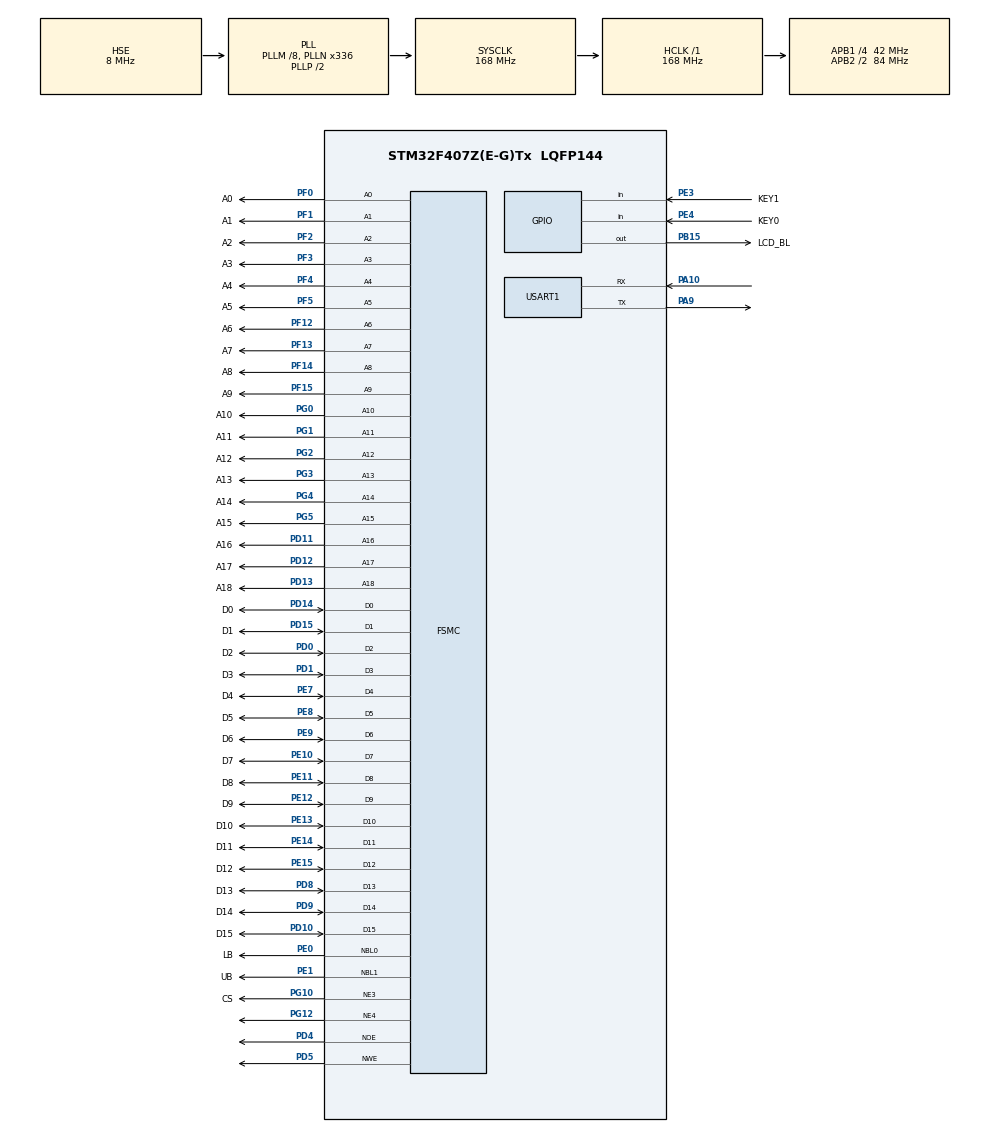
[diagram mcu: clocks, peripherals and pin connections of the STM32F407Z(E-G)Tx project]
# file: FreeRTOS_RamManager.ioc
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FREERTOS.HEAP_NUMBER=5
FREERTOS.Tasks01=startTask,1,128,start_task,Default,NULL,Dynamic,NULL,NULL;task1Task,2,128,task1,Default,NULL,Dynamic,NULL,NULL
FREERTOS.configTOTAL_HEAP_SIZE=40960
FSMC.AddressSetupTime1=2
FSMC.BusTurnAroundDuration1=0
FSMC.DataSetupTime1=8
FSMC.DataSetupTime2=60
FSMC.ExtendedAddressSetupTime2=9
FSMC.ExtendedDataSetupTime2=9
FSMC.ExtendedMode1=FSMC_EXTENDED_MODE_DISABLE
FSMC.ExtendedMode2=FSMC_EXTENDED_MODE_ENABLE
FSMC.WriteOperation1=FSMC_WRITE_OPERATION_ENABLE
Mcu.Family=STM32F4
Mcu.Name=STM32F407Z(E-G)Tx
Mcu.Package=LQFP144
NVIC.PriorityGroup=NVIC_PRIORITYGROUP_4
NVIC.TIM1_UP_TIM10_IRQn=true\:0\:0\:false\:false\:true\:false\:false\:true
NVIC.TimeBase=TIM1_UP_TIM10_IRQn
NVIC.TimeBaseIP=TIM1
PA10.Mode=Asynchronous
PA10.Signal=USART1_RX
PA13.Mode=Serial_Wire
PA13.Signal=SYS_JTMS-SWDIO
PA14.Mode=Serial_Wire
PA14.Signal=SYS_JTCK-SWCLK
PA9.Mode=Asynchronous
PA9.Signal=USART1_TX
PB15.GPIO_Label=LCD_BL
PB15.GPIO_PuPd=GPIO_PULLDOWN
PB15.GPIO_Speed=GPIO_SPEED_FREQ_HIGH
PB15.PinState=GPIO_PIN_SET
PB15.Signal=GPIO_Output
PD0.GPIO_Label=D2
PD0.GPIO_PuPd=GPIO_PULLUP
PD0.Signal=FSMC_D2_DA2
PD1.GPIO_Label=D3
PD1.GPIO_PuPd=GPIO_PULLUP
PD1.Signal=FSMC_D3_DA3
PD10.GPIO_Label=D15
PD10.GPIO_PuPd=GPIO_PULLUP
PD10.Signal=FSMC_D15_DA15
PD11.GPIO_Label=A16
PD11.GPIO_PuPd=GPIO_PULLUP
PD11.Signal=FSMC_A16_CLE
PD12.GPIO_Label=A17
PD12.GPIO_PuPd=GPIO_PULLUP
PD12.Signal=FSMC_A17_ALE
PD13.GPIO_Label=A18
PD13.GPIO_PuPd=GPIO_PULLUP
PD13.Signal=FSMC_A18
PD14.GPIO_Label=D0
PD14.GPIO_PuPd=GPIO_PULLUP
PD14.Signal=FSMC_D0_DA0
PD15.GPIO_Label=D1
PD15.GPIO_PuPd=GPIO_PULLUP
PD15.Signal=FSMC_D1_DA1
PD4.GPIO_PuPd=GPIO_PULLUP
PD4.Signal=FSMC_NOE
PD5.GPIO_PuPd=GPIO_PULLUP
PD5.Signal=FSMC_NWE
PD8.GPIO_Label=D13
PD8.GPIO_PuPd=GPIO_PULLUP
PD8.Signal=FSMC_D13_DA13
PD9.GPIO_Label=D14
PD9.GPIO_PuPd=GPIO_PULLUP
PD9.Signal=FSMC_D14_DA14
PE0.GPIO_Label=LB
PE0.GPIO_PuPd=GPIO_PULLUP
PE0.Signal=FSMC_NBL0
PE1.GPIO_Label=UB
PE1.GPIO_PuPd=GPIO_PULLUP
PE1.Signal=FSMC_NBL1
PE10.GPIO_Label=D7
PE10.GPIO_PuPd=GPIO_PULLUP
PE10.Signal=FSMC_D7_DA7
PE11.GPIO_Label=D8
PE11.GPIO_PuPd=GPIO_PULLUP
PE11.Signal=FSMC_D8_DA8
PE12.GPIO_Label=D9
PE12.GPIO_PuPd=GPIO_PULLUP
PE12.Signal=FSMC_D9_DA9
PE13.GPIO_Label=D10
PE13.GPIO_PuPd=GPIO_PULLUP
PE13.Signal=FSMC_D10_DA10
PE14.GPIO_Label=D11
PE14.GPIO_PuPd=GPIO_PULLUP
PE14.Signal=FSMC_D11_DA11
PE15.GPIO_Label=D12
PE15.GPIO_PuPd=GPIO_PULLUP
PE15.Signal=FSMC_D12_DA12
PE3.GPIO_Label=KEY1
PE3.GPIO_PuPd=GPIO_PULLUP
PE3.Signal=GPIO_Input
PE4.GPIO_Label=KEY0
PE4.GPIO_PuPd=GPIO_PULLUP
PE4.Signal=GPIO_Input
PE7.GPIO_Label=D4
PE7.GPIO_PuPd=GPIO_PULLUP
PE7.Signal=FSMC_D4_DA4
PE8.GPIO_Label=D5
PE8.GPIO_PuPd=GPIO_PULLUP
PE8.Signal=FSMC_D5_DA5
PE9.GPIO_Label=D6
PE9.GPIO_PuPd=GPIO_PULLUP
PE9.Signal=FSMC_D6_DA6
PF0.GPIO_Label=A0
PF0.GPIO_PuPd=GPIO_PULLUP
PF0.Signal=FSMC_A0
PF1.GPIO_Label=A1
PF1.GPIO_PuPd=GPIO_PULLUP
PF1.Signal=FSMC_A1
PF12.GPIO_Label=A6
PF12.GPIO_PuPd=GPIO_PULLUP
PF12.Signal=FSMC_A6
PF13.GPIO_Label=A7
PF13.GPIO_PuPd=GPIO_PULLUP
PF13.Signal=FSMC_A7
PF14.GPIO_Label=A8
PF14.GPIO_PuPd=GPIO_PULLUP
PF14.Signal=FSMC_A8
PF15.GPIO_Label=A9
PF15.GPIO_PuPd=GPIO_PULLUP
PF15.Signal=FSMC_A9
PF2.GPIO_Label=A2
PF2.GPIO_PuPd=GPIO_PULLUP
PF2.Signal=FSMC_A2
PF3.GPIO_Label=A3
PF3.GPIO_PuPd=GPIO_PULLUP
PF3.Signal=FSMC_A3
PF4.GPIO_Label=A4
PF4.GPIO_PuPd=GPIO_PULLUP
PF4.Signal=FSMC_A4
PF5.GPIO_Label=A5
PF5.GPIO_PuPd=GPIO_PULLUP
PF5.Signal=FSMC_A5
PG0.GPIO_Label=A10
PG0.GPIO_PuPd=GPIO_PULLUP
PG0.Signal=FSMC_A10
PG1.GPIO_Label=A11
PG1.GPIO_PuPd=GPIO_PULLUP
PG1.Signal=FSMC_A11
PG10.GPIO_Label=CS
PG10.GPIO_PuPd=GPIO_PULLUP
PG10.Mode=NorPsramChipSelect3_1
PG10.Signal=FSMC_NE3
PG12.Mode=NorPsramChipSelect4_2
PG12.Signal=FSMC_NE4
PG2.GPIO_Label=A12
PG2.GPIO_PuPd=GPIO_PULLUP
PG2.Signal=FSMC_A12
PG3.GPIO_Label=A13
PG3.GPIO_PuPd=GPIO_PULLUP
PG3.Signal=FSMC_A13
PG4.GPIO_Label=A14
PG4.GPIO_PuPd=GPIO_PULLUP
PG4.Signal=FSMC_A14
PG5.GPIO_Label=A15
PG5.GPIO_PuPd=GPIO_PULLUP
PG5.Signal=FSMC_A15
PH0-OSC_IN.Mode=HSE-External-Oscillator
PH0-OSC_IN.Signal=RCC_OSC_IN
PH1-OSC_OUT.Mode=HSE-External-Oscillator
PH1-OSC_OUT.Signal=RCC_OSC_OUT
ProjectManager.HeapSize=0x200
ProjectManager.StackSize=0x400
ProjectManager.TargetToolchain=MDK-ARM V5
RCC.48MHZClocksFreq_Value=84000000
RCC.AHBFreq_Value=168000000
RCC.APB1CLKDivider=RCC_HCLK_DIV4
RCC.APB1Freq_Value=42000000
RCC.APB1TimFreq_Value=84000000
RCC.APB2CLKDivider=RCC_HCLK_DIV2
RCC.APB2Freq_Value=84000000
RCC.APB2TimFreq_Value=168000000
RCC.CortexFreq_Value=168000000
RCC.HCLKFreq_Value=168000000
RCC.HSE_VALUE=8000000
RCC.HSI_VALUE=16000000
RCC.LSE_VALUE=32768
RCC.PLLM=8
RCC.PLLN=336
RCC.PLLSourceVirtual=RCC_PLLSOURCE_HSE
RCC.SYSCLKFreq_VALUE=168000000
RCC.SYSCLKSource=RCC_SYSCLKSOURCE_PLLCLK
RCC.VCOOutputFreq_Value=336000000
SH.FSMC_A0.0=FSMC_A0,19b-a1
SH.FSMC_A1.0=FSMC_A1,19b-a1
SH.FSMC_A10.0=FSMC_A10,19b-a1
SH.FSMC_A11.0=FSMC_A11,19b-a1
SH.FSMC_A12.0=FSMC_A12,19b-a1
SH.FSMC_A13.0=FSMC_A13,19b-a1
SH.FSMC_A14.0=FSMC_A14,19b-a1
SH.FSMC_A15.0=FSMC_A15,19b-a1
SH.FSMC_A16_CLE.0=FSMC_A16,19b-a1
SH.FSMC_A17_ALE.0=FSMC_A17,19b-a1
SH.FSMC_A18.0=FSMC_A18,19b-a1
SH.FSMC_A2.0=FSMC_A2,19b-a1
SH.FSMC_A3.0=FSMC_A3,19b-a1
SH.FSMC_A4.0=FSMC_A4,19b-a1
SH.FSMC_A5.0=FSMC_A5,19b-a1
SH.FSMC_A6.0=FSMC_A6,A6_2
SH.FSMC_A6.1=FSMC_A6,19b-a1
SH.FSMC_A7.0=FSMC_A7,19b-a1
SH.FSMC_A8.0=FSMC_A8,19b-a1
SH.FSMC_A9.0=FSMC_A9,19b-a1
SH.FSMC_D0_DA0.0=FSMC_D0,16b-d2
SH.FSMC_D0_DA0.1=FSMC_D0,16b-d1
SH.FSMC_D10_DA10.0=FSMC_D10,16b-d2
SH.FSMC_D10_DA10.1=FSMC_D10,16b-d1
SH.FSMC_D11_DA11.0=FSMC_D11,16b-d2
SH.FSMC_D11_DA11.1=FSMC_D11,16b-d1
SH.FSMC_D12_DA12.0=FSMC_D12,16b-d2
SH.FSMC_D12_DA12.1=FSMC_D12,16b-d1
SH.FSMC_D13_DA13.0=FSMC_D13,16b-d2
SH.FSMC_D13_DA13.1=FSMC_D13,16b-d1
SH.FSMC_D14_DA14.0=FSMC_D14,16b-d2
SH.FSMC_D14_DA14.1=FSMC_D14,16b-d1
SH.FSMC_D15_DA15.0=FSMC_D15,16b-d2
SH.FSMC_D15_DA15.1=FSMC_D15,16b-d1
SH.FSMC_D1_DA1.0=FSMC_D1,16b-d2
SH.FSMC_D1_DA1.1=FSMC_D1,16b-d1
SH.FSMC_D2_DA2.0=FSMC_D2,16b-d2
SH.FSMC_D2_DA2.1=FSMC_D2,16b-d1
SH.FSMC_D3_DA3.0=FSMC_D3,16b-d2
SH.FSMC_D3_DA3.1=FSMC_D3,16b-d1
SH.FSMC_D4_DA4.0=FSMC_D4,16b-d2
SH.FSMC_D4_DA4.1=FSMC_D4,16b-d1
SH.FSMC_D5_DA5.0=FSMC_D5,16b-d2
SH.FSMC_D5_DA5.1=FSMC_D5,16b-d1
SH.FSMC_D6_DA6.0=FSMC_D6,16b-d2
SH.FSMC_D6_DA6.1=FSMC_D6,16b-d1
SH.FSMC_D7_DA7.0=FSMC_D7,16b-d2
SH.FSMC_D7_DA7.1=FSMC_D7,16b-d1
SH.FSMC_D8_DA8.0=FSMC_D8,16b-d2
SH.FSMC_D8_DA8.1=FSMC_D8,16b-d1
SH.FSMC_D9_DA9.0=FSMC_D9,16b-d2
SH.FSMC_D9_DA9.1=FSMC_D9,16b-d1
SH.FSMC_NBL0.0=FSMC_NBL0,2ByteEnable1
SH.FSMC_NBL1.0=FSMC_NBL1,2ByteEnable1
SH.FSMC_NOE.0=FSMC_NOE,Lcd2
SH.FSMC_NOE.1=FSMC_NOE,Sram1
SH.FSMC_NWE.0=FSMC_NWE,Lcd2
SH.FSMC_NWE.1=FSMC_NWE,Sram1
USART1.VirtualMode=VM_ASYNC
VP_FREERTOS_VS_CMSIS_V1.Mode=CMSIS_V1
VP_SYS_VS_tim1.Mode=TIM1
board=custom

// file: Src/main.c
/* USER CODE BEGIN Header */
/**
  ******************************************************************************
  * @file           : main.c
  * @brief          : Main program body
  ******************************************************************************
  * @attention
  *
  * <h2><center>&copy; Copyright (c) 2024 STMicroelectronics.
  * All rights reserved.</center></h2>
  *
  * This software component is licensed by ST under Ultimate Liberty license
  * SLA0044, the "License"; You may not use this file except in compliance with
  * the License. You may obtain a copy of the License at:
  *                             www.st.com/SLA0044
  *
  ******************************************************************************
  */
/* USER CODE END Header */

#include "main.h"
#include "cmsis_os.h"
#include "usart.h"
#include "gpio.h"
#include "fsmc.h"

/* USER CODE BEGIN Includes */
#include "lcd.h"
#include "sram.h"  //sram_init
#include "mymalloc.h"  //my_mem_init

#include "FreeRTOS.h"
#include "task.h"
/* USER CODE END Includes */

/* USER CODE BEGIN PV */
uint8_t lcd_id[12];
uint16_t colors[12] = {WHITE, BLACK, BLUE, RED, MAGENTA, GREEN, CYAN, YELLOW, BRRED, GRAY, LGRAY, BROWN};
uint8_t color_index = 0;
uint8_t cur_brightness;
uint8_t* str[23];

// 定义堆区域数组
HeapRegion_t xHeapRegions[] = {
    { ( uint8_t * ) 0x68000000, 0xa000 },  // 定义从0x68000000开始的40K字节内存块
    { NULL, 0 }                            // 终止数组
};

void configureHeapRegions(void)
{
    vPortDefineHeapRegions(xHeapRegions);  // 定义堆区域
}

uint8_t paddr[20] = {0};                  /* 存放内存EXSRAM使用率 */
uint16_t memused = 0;                     /* 内存使用百分比 */
/* USER CODE END PV */

void SystemClock_Config(void);
void MX_FREERTOS_Init(void);

int main(void)
{

  /* MCU Configuration--------------------------------------------------------*/

  /* Reset of all peripherals, Initializes the Flash interface and the Systick. */
  HAL_Init();

  /* Configure the system clock */
  SystemClock_Config();

  /* Initialize all configured peripherals */
  MX_GPIO_Init();
  MX_USART1_UART_Init();
  MX_FSMC_Init();
  /* USER CODE BEGIN 2 */
	//lcd_set_backlight_by_pwm(0xFF); // 设置占空比为255，开启背光最亮

	// 调用配置堆区域的函数
	configureHeapRegions();  //FreeRTOS定义heap5的堆区地址范围

	sram_init();                        /* 外扩SRAM初始化 */

	//my_mem_init(SRAMIN);                /* 初始化内部SRAM内存池 */
	my_mem_init(SRAMEX);                /* 初始化外部SRAM内存池 */
	//my_mem_init(SRAMCCM);               /* 初始化内部CCM内存池 */

	//因为将外扩SRAM的头部40KB给FreeRTOS使用，所以要将这部分在内存管理表中对应的表项赋值为非零，表示已经被占用了，防止影响FreeRTOS的堆区
	my_mem_occupy(SRAMEX, 40*1024);

	memused = my_mem_perused(SRAMEX);
	sprintf((char *)paddr, "%d.%01d%%", memused / 10, memused % 10);
	printf("SRAMEX   USED: %s\n", (char *)paddr);
  /* USER CODE END 2 */

  /* Call init function for freertos objects (in freertos.c) */
  MX_FREERTOS_Init();

  /* Start scheduler */
  osKernelStart();

  /* We should never get here as control is now taken by the scheduler */

  /* Infinite loop */
  while (1)
  {

  }
}

void SystemClock_Config(void)
{
  RCC_OscInitTypeDef RCC_OscInitStruct = {0};
  RCC_ClkInitTypeDef RCC_ClkInitStruct = {0};

  /** Configure the main internal regulator output voltage
  */
  __HAL_RCC_PWR_CLK_ENABLE();
  __HAL_PWR_VOLTAGESCALING_CONFIG(PWR_REGULATOR_VOLTAGE_SCALE1);
  /** Initializes the CPU, AHB and APB busses clocks
  */
  RCC_OscInitStruct.OscillatorType = RCC_OSCILLATORTYPE_HSE;
  RCC_OscInitStruct.HSEState = RCC_HSE_ON;
  RCC_OscInitStruct.PLL.PLLState = RCC_PLL_ON;
  RCC_OscInitStruct.PLL.PLLSource = RCC_PLLSOURCE_HSE;
  RCC_OscInitStruct.PLL.PLLM = 8;
  RCC_OscInitStruct.PLL.PLLN = 336;
  RCC_OscInitStruct.PLL.PLLP = RCC_PLLP_DIV2;
  RCC_OscInitStruct.PLL.PLLQ = 4;
  if (HAL_RCC_OscConfig(&RCC_OscInitStruct) != HAL_OK)
  {
    Error_Handler();
  }
  /** Initializes the CPU, AHB and APB busses clocks
  */
  RCC_ClkInitStruct.ClockType = RCC_CLOCKTYPE_HCLK|RCC_CLOCKTYPE_SYSCLK
                              |RCC_CLOCKTYPE_PCLK1|RCC_CLOCKTYPE_PCLK2;
  RCC_ClkInitStruct.SYSCLKSource = RCC_SYSCLKSOURCE_PLLCLK;
  RCC_ClkInitStruct.AHBCLKDivider = RCC_SYSCLK_DIV1;
  RCC_ClkInitStruct.APB1CLKDivider = RCC_HCLK_DIV4;
  RCC_ClkInitStruct.APB2CLKDivider = RCC_HCLK_DIV2;

  if (HAL_RCC_ClockConfig(&RCC_ClkInitStruct, FLASH_LATENCY_5) != HAL_OK)
  {
    Error_Handler();
  }
}

/* USER CODE BEGIN 4 */
/**
 * @brief       按键扫描函数
 * @note        该函数有响应优先级(同时按下多个按键): WK_UP > KEY2 > KEY1 > KEY0!!
 * @param       mode:0 / 1, 具体含义如下:
 *   @arg       0,  不支持连续按(当按键按下不放时, 只有第一次调用会返回键值,
 *                  必须松开以后, 再次按下才会返回其他键值)
 *   @arg       1,  支持连续按(当按键按下不放时, 每次调用该函数都会返回键值)
 * @retval      键值, 定义如下:
 *              KEY0_PRES, 1, KEY0按下
 *              KEY1_PRES, 2, KEY1按下
 *              KEY2_PRES, 3, KEY2按下
 *              WKUP_PRES, 4, WKUP按下
 */
uint8_t key_scan(uint8_t mode)
{
    static uint8_t key_up = 1;  /* 按键按松开标志 */
    uint8_t keyval = 0;

    if (mode) key_up = 1;       /* 支持连按 */

    if (key_up && (KEY0 == 0 || KEY1 == 0))  /* 按键松开标志为1, 且有任意一个按键按下了 */
    {
        delay_ms(10);           /* 去抖动 */
        key_up = 0;

        if (KEY0 == 0)  keyval = KEY0_PRES;

        if (KEY1 == 0)  keyval = KEY1_PRES;
    }
    else if (KEY0 == 1 && KEY1 == 1)         /* 没有任何按键按下, 标记按键松开 */
    {
        key_up = 1;
    }

    return keyval;              /* 返回键值 */
}
/* USER CODE END 4 */

void HAL_TIM_PeriodElapsedCallback(TIM_HandleTypeDef *htim)
{
  if (htim->Instance == TIM1) {
    HAL_IncTick();
  }
}

void Error_Handler(void)
{
}

/************************ (C) COPYRIGHT STMicroelectronics *****END OF FILE****/

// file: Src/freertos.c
/* USER CODE BEGIN Header */
/**
  ******************************************************************************
  * File Name          : freertos.c
  * Description        : Code for freertos applications
  ******************************************************************************
  * @attention
  *
  * <h2><center>&copy; Copyright (c) 2024 STMicroelectronics.
  * All rights reserved.</center></h2>
  *
  * This software component is licensed by ST under Ultimate Liberty license
  * SLA0044, the "License"; You may not use this file except in compliance with
  * the License. You may obtain a copy of the License at:
  *                             www.st.com/SLA0044
  *
  ******************************************************************************
  */
/* USER CODE END Header */

#include "FreeRTOS.h"
#include "task.h"
#include "main.h"
#include "cmsis_os.h"

/* USER CODE BEGIN Includes */
#include "delay.h"
#include "lcd.h"
#include "stdio.h"  //sprintf
/* USER CODE END Includes */

/* USER CODE BEGIN Variables */
//lcd
extern uint8_t lcd_id[12]; //main.c
extern uint16_t colors[];  //main.c
extern uint8_t color_index;  //main.c

/* USER CODE END Variables */
osThreadId startTaskHandle;
osThreadId task1TaskHandle;

void start_task(void const * argument);
void task1(void const * argument);

void MX_FREERTOS_Init(void); /* (MISRA C 2004 rule 8.1) */

/* GetIdleTaskMemory prototype (linked to static allocation support) */
void vApplicationGetIdleTaskMemory( StaticTask_t **ppxIdleTaskTCBBuffer, StackType_t **ppxIdleTaskStackBuffer, uint32_t *pulIdleTaskStackSize );

/* USER CODE BEGIN GET_IDLE_TASK_MEMORY */
static StaticTask_t xIdleTaskTCBBuffer;
static StackType_t xIdleStack[configMINIMAL_STACK_SIZE];

void vApplicationGetIdleTaskMemory( StaticTask_t **ppxIdleTaskTCBBuffer, StackType_t **ppxIdleTaskStackBuffer, uint32_t *pulIdleTaskStackSize )
{
  *ppxIdleTaskTCBBuffer = &xIdleTaskTCBBuffer;
  *ppxIdleTaskStackBuffer = &xIdleStack[0];
  *pulIdleTaskStackSize = configMINIMAL_STACK_SIZE;
  /* place for user code */
}
/* USER CODE END GET_IDLE_TASK_MEMORY */

void MX_FREERTOS_Init(void) {

  /* Create the thread(s) */
  /* definition and creation of startTask */
  osThreadDef(startTask, start_task, osPriorityAboveNormal, 0, 128);
  startTaskHandle = osThreadCreate(osThread(startTask), NULL);

  /* definition and creation of task1Task */
  osThreadDef(task1Task, task1, osPriorityHigh, 0, 128);
  task1TaskHandle = osThreadCreate(osThread(task1Task), NULL);

}

void start_task(void const * argument)
{

  /* USER CODE BEGIN start_task */
	taskENTER_CRITICAL();           /* 进入临界区 */
	delay_init(168);                    // 延时初始化
	lcd_init();                             // 初始化LCD

  sprintf((char *)lcd_id, "LCD ID:%04X", lcddev.id);  // 将LCD ID打印到lcd_id数组
	lcd_clear(colors[color_index]);  //清屏

	lcd_show_string(10, 10, 220, 32, 32, "STM32", RED);
	lcd_show_string(10, 47, 220, 24, 24, "Mem Manage", RED);
	lcd_show_string(10, 76, 220, 16, 16, "ATOM@ALIENTEK", RED);

	lcd_show_string(30, 118, 200, 16, 16, "Total Heap Mem:      Bytes", RED);
	lcd_show_string(30, 139, 200, 16, 16, "Free Heap Mem:      Bytes", RED);
	lcd_show_string(30, 160, 200, 16, 16, "Malloc Addr:", RED);
	taskEXIT_CRITICAL();            /* 退出临界区 */
  /* Infinite loop */
  for(;;)
  {

    osDelay(100);
  }
  /* USER CODE END start_task */
}

void task1(void const * argument)
{
  /* USER CODE BEGIN task1 */
	uint8_t key         = 0;
	uint8_t *buf        = NULL;
	size_t  free_size   = 0;
  /* Infinite loop */
  for(;;)
  {
		key = key_scan(0);
		switch (key) {
				case KEY0_PRES: {                                                /* 申请内存和使用内存 */
						buf = pvPortMalloc(30);
						sprintf((char *)buf, "0x%p", buf);
						lcd_show_string(130, 160, 200, 16, 16, (char *)buf, BLUE);
						break;
				}
				case KEY1_PRES: {                                                /* 释放内存 */
						if (NULL != buf) {
								vPortFree(buf);
								buf = NULL;
						}
						break;
				}
				default:
						break;
		}

		lcd_show_xnum(114+35, 118, configTOTAL_HEAP_SIZE, 5, 16, 0, BLUE);     /* 显示总内存大小 */
		free_size = xPortGetFreeHeapSize();                                 /* 获取内存剩余大小 */
		lcd_show_xnum(114+30, 139, free_size, 5, 16, 0, BLUE);                 /* 显示剩余内存大小 */
    osDelay(1);
  }
  /* USER CODE END task1 */
}

/************************ (C) COPYRIGHT STMicroelectronics *****END OF FILE****/
